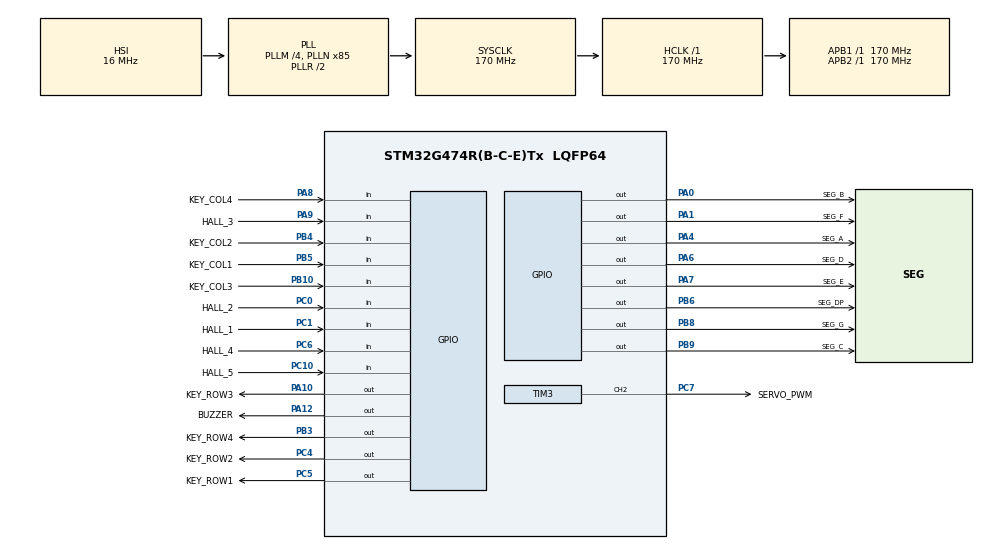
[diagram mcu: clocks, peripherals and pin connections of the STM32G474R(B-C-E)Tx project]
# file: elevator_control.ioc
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Mcu.Family=STM32G4
Mcu.Name=STM32G474R(B-C-E)Tx
Mcu.Package=LQFP64
NVIC.PriorityGroup=NVIC_PRIORITYGROUP_4
PA0.GPIO_Label=SEG_B
PA0.GPIO_Mode=GPIO_MODE_OUTPUT_PP
PA0.GPIO_PuPd=GPIO_NOPULL
PA0.GPIO_Speed=GPIO_SPEED_FREQ_LOW
PA0.Signal=GPIO_Output
PA1.GPIO_Label=SEG_F
PA1.GPIO_Mode=GPIO_MODE_OUTPUT_PP
PA1.GPIO_PuPd=GPIO_NOPULL
PA1.GPIO_Speed=GPIO_SPEED_FREQ_LOW
PA1.Signal=GPIO_Output
PA4.GPIO_Label=SEG_A
PA4.GPIO_Mode=GPIO_MODE_OUTPUT_PP
PA4.GPIO_PuPd=GPIO_NOPULL
PA4.GPIO_Speed=GPIO_SPEED_FREQ_LOW
PA4.Signal=GPIO_Output
PA6.GPIO_Label=SEG_D
PA6.GPIO_Mode=GPIO_MODE_OUTPUT_PP
PA6.GPIO_PuPd=GPIO_NOPULL
PA6.GPIO_Speed=GPIO_SPEED_FREQ_LOW
PA6.Signal=GPIO_Output
PA7.GPIO_Label=SEG_E
PA7.GPIO_Mode=GPIO_MODE_OUTPUT_PP
PA7.GPIO_PuPd=GPIO_NOPULL
PA7.GPIO_Speed=GPIO_SPEED_FREQ_LOW
PA7.Signal=GPIO_Output
PA8.GPIO_Label=KEY_COL4
PA8.GPIO_Mode=GPIO_MODE_INPUT
PA8.GPIO_PuPd=GPIO_PULLUP
PA8.Signal=GPIO_Input
PA9.GPIO_Label=HALL_3
PA9.GPIO_Mode=GPIO_MODE_INPUT
PA9.GPIO_PuPd=GPIO_PULLUP
PA9.Signal=GPIO_Input
PA10.GPIO_Label=KEY_ROW3
PA10.GPIO_Mode=GPIO_MODE_OUTPUT_PP
PA10.GPIO_PuPd=GPIO_NOPULL
PA10.GPIO_Speed=GPIO_SPEED_FREQ_LOW
PA10.Signal=GPIO_Output
PA12.GPIO_Label=BUZZER
PA12.GPIO_Mode=GPIO_MODE_OUTPUT_PP
PA12.GPIO_PuPd=GPIO_NOPULL
PA12.GPIO_Speed=GPIO_SPEED_FREQ_LOW
PA12.Signal=GPIO_Output
PA13.Mode=Serial_Wire
PA13.Signal=SYS_JTMS-SWDIO
PA14.Mode=Serial_Wire
PA14.Signal=SYS_JTCK-SWCLK
PB3.GPIO_Label=KEY_ROW4
PB3.GPIO_Mode=GPIO_MODE_OUTPUT_PP
PB3.GPIO_PuPd=GPIO_NOPULL
PB3.GPIO_Speed=GPIO_SPEED_FREQ_LOW
PB3.Signal=GPIO_Output
PB4.GPIO_Label=KEY_COL2
PB4.GPIO_Mode=GPIO_MODE_INPUT
PB4.GPIO_PuPd=GPIO_PULLUP
PB4.Signal=GPIO_Input
PB5.GPIO_Label=KEY_COL1
PB5.GPIO_Mode=GPIO_MODE_INPUT
PB5.GPIO_PuPd=GPIO_PULLUP
PB5.Signal=GPIO_Input
PB6.GPIO_Label=SEG_DP
PB6.GPIO_Mode=GPIO_MODE_OUTPUT_PP
PB6.GPIO_PuPd=GPIO_NOPULL
PB6.GPIO_Speed=GPIO_SPEED_FREQ_LOW
PB6.Signal=GPIO_Output
PB8.GPIO_Label=SEG_G
PB8.GPIO_Mode=GPIO_MODE_OUTPUT_PP
PB8.GPIO_PuPd=GPIO_NOPULL
PB8.GPIO_Speed=GPIO_SPEED_FREQ_LOW
PB8.Signal=GPIO_Output
PB9.GPIO_Label=SEG_C
PB9.GPIO_Mode=GPIO_MODE_OUTPUT_PP
PB9.GPIO_PuPd=GPIO_NOPULL
PB9.GPIO_Speed=GPIO_SPEED_FREQ_LOW
PB9.Signal=GPIO_Output
PB10.GPIO_Label=KEY_COL3
PB10.GPIO_Mode=GPIO_MODE_INPUT
PB10.GPIO_PuPd=GPIO_PULLUP
PB10.Signal=GPIO_Input
PC0.GPIO_Label=HALL_2
PC0.GPIO_Mode=GPIO_MODE_INPUT
PC0.GPIO_PuPd=GPIO_PULLUP
PC0.Signal=GPIO_Input
PC1.GPIO_Label=HALL_1
PC1.GPIO_Mode=GPIO_MODE_INPUT
PC1.GPIO_PuPd=GPIO_PULLUP
PC1.Signal=GPIO_Input
PC4.GPIO_Label=KEY_ROW2
PC4.GPIO_Mode=GPIO_MODE_OUTPUT_PP
PC4.GPIO_PuPd=GPIO_NOPULL
PC4.GPIO_Speed=GPIO_SPEED_FREQ_LOW
PC4.Signal=GPIO_Output
PC5.GPIO_Label=KEY_ROW1
PC5.GPIO_Mode=GPIO_MODE_OUTPUT_PP
PC5.GPIO_PuPd=GPIO_NOPULL
PC5.GPIO_Speed=GPIO_SPEED_FREQ_LOW
PC5.Signal=GPIO_Output
PC6.GPIO_Label=HALL_4
PC6.GPIO_Mode=GPIO_MODE_INPUT
PC6.GPIO_PuPd=GPIO_PULLUP
PC6.Signal=GPIO_Input
PC7.GPIO_Label=SERVO_PWM
PC7.GPIO_PuPd=GPIO_NOPULL
PC7.GPIO_Speed=GPIO_SPEED_FREQ_LOW
PC7.Signal=S_TIM3_CH2
PC10.GPIO_Label=HALL_5
PC10.GPIO_Mode=GPIO_MODE_INPUT
PC10.GPIO_PuPd=GPIO_PULLUP
PC10.Signal=GPIO_Input
ProjectManager.HeapSize=0x200
ProjectManager.StackSize=0x400
ProjectManager.TargetToolchain=STM32CubeIDE
RCC.ADC12Freq_Value=170000000
RCC.ADC345Freq_Value=170000000
RCC.AHBFreq_Value=170000000
RCC.APB1Freq_Value=170000000
RCC.APB1TimFreq_Value=170000000
RCC.APB2Freq_Value=170000000
RCC.APB2TimFreq_Value=170000000
RCC.CortexFreq_Value=170000000
RCC.HCLKFreq_Value=170000000
RCC.HSI_VALUE=16000000
RCC.PLLM=RCC_PLLM_DIV4
RCC.PLLN=85
RCC.SYSCLKFreq_VALUE=170000000
RCC.SYSCLKSource=RCC_SYSCLKSOURCE_PLLCLK
RCC.VCOOutputFreq_Value=340000000
SH.S_TIM3_CH2.0=TIM3_CH2,PWM Generation2 CH2
TIM3.Channel-PWM\ Generation2\ CH2=TIM_CHANNEL_2
TIM3.OCMode_PWM-PWM\ Generation2\ CH2=TIM_OCMODE_PWM1
TIM3.PeriodNoDither=19999
TIM3.Prescaler=169
TIM3.PulseNoDither_2=1500
VP_SYS_VS_DBSignals.Mode=DisableDeadBatterySignals
VP_TIM3_VS_ClockSourceINT.Mode=Internal

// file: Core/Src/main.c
/* USER CODE BEGIN Header */
/**
  ******************************************************************************
  * @file           : main.c
  * @brief          : Main program body
  ******************************************************************************
  * @attention
  *
  * Copyright (c) 2026 STMicroelectronics.
  * All rights reserved.
  *
  * This software is licensed under terms that can be found in the LICENSE file
  * in the root directory of this software component.
  * If no LICENSE file comes with this software, it is provided AS-IS.
  *
  ******************************************************************************
  */
/* USER CODE END Header */
#include "main.h"

/* USER CODE BEGIN Includes */
#include "buzzer.h"
#include "display.h"
#include "elevator.h"
#include "keypad.h"
#include "motor.h"
/* USER CODE END Includes */

TIM_HandleTypeDef htim3;

/* USER CODE BEGIN PV */
static uint32_t lastKeyScan;
/* USER CODE END PV */

void SystemClock_Config(void);
static void MX_GPIO_Init(void);
static void MX_TIM3_Init(void);

/* USER CODE BEGIN 0 */
static void HandleKey(char key)
{
  if ((key >= '1') && (key <= '5'))
  {
    Elevator_Request((uint8_t)(key - '0'));
  }
  else if ((key >= '6') && (key <= '9'))
  {
    Elevator_Request((uint8_t)(key - '6' + 1));
  }
  else if (key == '0')
  {
    Elevator_Request(5U);
  }
  else if (key == '#')
  {
    Elevator_RequestDoorOpen();
  }
  else if (key == '*')
  {
    Elevator_RequestDoorClose();
  }
}
/* USER CODE END 0 */

int main(void)
{

  /* MCU Configuration--------------------------------------------------------*/

  /* Reset of all peripherals, Initializes the Flash interface and the Systick. */
  HAL_Init();

  /* Configure the system clock */
  SystemClock_Config();

  /* Initialize all configured peripherals */
  MX_GPIO_Init();
  MX_TIM3_Init();
  /* USER CODE BEGIN 2 */
  if (HAL_TIM_PWM_Start(&htim3, TIM_CHANNEL_2) != HAL_OK)
  {
    Error_Handler();
  }

  Motor_Init(&htim3, TIM_CHANNEL_2);
  Buzzer_Init();
  Elevator_Init();
  /* USER CODE END 2 */

  /* Infinite loop */
  /* USER CODE BEGIN WHILE */
  while (1)
  {
    if ((HAL_GetTick() - lastKeyScan) >= 50U)
    {
      char key = Keypad_Scan();
      if (key != 0)
      {
        HandleKey(key);
      }
      lastKeyScan = HAL_GetTick();
    }

    Elevator_Update();
    Motor_Update();
    Buzzer_Update();
    Display_ShowDigit(Elevator_CurrentFloor());

    /* USER CODE END WHILE */

  }
}

void SystemClock_Config(void)
{
  RCC_OscInitTypeDef RCC_OscInitStruct = {0};
  RCC_ClkInitTypeDef RCC_ClkInitStruct = {0};

  /** Configure the main internal regulator output voltage
  */
  HAL_PWREx_ControlVoltageScaling(PWR_REGULATOR_VOLTAGE_SCALE1_BOOST);

  /** Initializes the RCC Oscillators according to the specified parameters
  * in the RCC_OscInitTypeDef structure.
  */
  RCC_OscInitStruct.OscillatorType = RCC_OSCILLATORTYPE_HSI;
  RCC_OscInitStruct.HSIState = RCC_HSI_ON;
  RCC_OscInitStruct.HSICalibrationValue = RCC_HSICALIBRATION_DEFAULT;
  RCC_OscInitStruct.PLL.PLLState = RCC_PLL_ON;
  RCC_OscInitStruct.PLL.PLLSource = RCC_PLLSOURCE_HSI;
  RCC_OscInitStruct.PLL.PLLM = RCC_PLLM_DIV4;
  RCC_OscInitStruct.PLL.PLLN = 85;
  RCC_OscInitStruct.PLL.PLLP = RCC_PLLP_DIV2;
  RCC_OscInitStruct.PLL.PLLQ = RCC_PLLQ_DIV2;
  RCC_OscInitStruct.PLL.PLLR = RCC_PLLR_DIV2;
  if (HAL_RCC_OscConfig(&RCC_OscInitStruct) != HAL_OK)
  {
    Error_Handler();
  }

  /** Initializes the CPU, AHB and APB buses clocks
  */
  RCC_ClkInitStruct.ClockType = RCC_CLOCKTYPE_HCLK|RCC_CLOCKTYPE_SYSCLK
                              |RCC_CLOCKTYPE_PCLK1|RCC_CLOCKTYPE_PCLK2;
  RCC_ClkInitStruct.SYSCLKSource = RCC_SYSCLKSOURCE_PLLCLK;
  RCC_ClkInitStruct.AHBCLKDivider = RCC_SYSCLK_DIV1;
  RCC_ClkInitStruct.APB1CLKDivider = RCC_HCLK_DIV1;
  RCC_ClkInitStruct.APB2CLKDivider = RCC_HCLK_DIV1;

  if (HAL_RCC_ClockConfig(&RCC_ClkInitStruct, FLASH_LATENCY_4) != HAL_OK)
  {
    Error_Handler();
  }
}

static void MX_TIM3_Init(void)
{

  TIM_ClockConfigTypeDef sClockSourceConfig = {0};
  TIM_MasterConfigTypeDef sMasterConfig = {0};
  TIM_OC_InitTypeDef sConfigOC = {0};

  htim3.Instance = TIM3;
  htim3.Init.Prescaler = 169;
  htim3.Init.CounterMode = TIM_COUNTERMODE_UP;
  htim3.Init.Period = 19999;
  htim3.Init.ClockDivision = TIM_CLOCKDIVISION_DIV1;
  htim3.Init.AutoReloadPreload = TIM_AUTORELOAD_PRELOAD_DISABLE;
  if (HAL_TIM_Base_Init(&htim3) != HAL_OK)
  {
    Error_Handler();
  }
  sClockSourceConfig.ClockSource = TIM_CLOCKSOURCE_INTERNAL;
  if (HAL_TIM_ConfigClockSource(&htim3, &sClockSourceConfig) != HAL_OK)
  {
    Error_Handler();
  }
  if (HAL_TIM_PWM_Init(&htim3) != HAL_OK)
  {
    Error_Handler();
  }
  sMasterConfig.MasterOutputTrigger = TIM_TRGO_RESET;
  sMasterConfig.MasterSlaveMode = TIM_MASTERSLAVEMODE_DISABLE;
  if (HAL_TIMEx_MasterConfigSynchronization(&htim3, &sMasterConfig) != HAL_OK)
  {
    Error_Handler();
  }
  sConfigOC.OCMode = TIM_OCMODE_PWM1;
  sConfigOC.Pulse = 1500;
  sConfigOC.OCPolarity = TIM_OCPOLARITY_HIGH;
  sConfigOC.OCFastMode = TIM_OCFAST_DISABLE;
  if (HAL_TIM_PWM_ConfigChannel(&htim3, &sConfigOC, TIM_CHANNEL_2) != HAL_OK)
  {
    Error_Handler();
  }
  HAL_TIM_MspPostInit(&htim3);

}

static void MX_GPIO_Init(void)
{
  GPIO_InitTypeDef GPIO_InitStruct = {0};

  /* GPIO Ports Clock Enable */
  __HAL_RCC_GPIOC_CLK_ENABLE();
  __HAL_RCC_GPIOA_CLK_ENABLE();
  __HAL_RCC_GPIOB_CLK_ENABLE();

  /*Configure GPIO pin Output Level */
  HAL_GPIO_WritePin(GPIOA, SEG_B_Pin|SEG_F_Pin|SEG_A_Pin|SEG_D_Pin
                          |SEG_E_Pin|KEY_ROW3_Pin|BUZZER_Pin, GPIO_PIN_RESET);

  /*Configure GPIO pin Output Level */
  HAL_GPIO_WritePin(GPIOC, KEY_ROW2_Pin|KEY_ROW1_Pin, GPIO_PIN_RESET);

  /*Configure GPIO pin Output Level */
  HAL_GPIO_WritePin(GPIOB, KEY_ROW4_Pin|SEG_DP_Pin|SEG_G_Pin|SEG_C_Pin, GPIO_PIN_RESET);

  /*Configure GPIO pins : HALL_2_Pin HALL_1_Pin HALL_4_Pin HALL_5_Pin */
  GPIO_InitStruct.Pin = HALL_2_Pin|HALL_1_Pin|HALL_4_Pin|HALL_5_Pin;
  GPIO_InitStruct.Mode = GPIO_MODE_INPUT;
  GPIO_InitStruct.Pull = GPIO_PULLUP;
  HAL_GPIO_Init(GPIOC, &GPIO_InitStruct);

  /*Configure GPIO pins : SEG_B_Pin SEG_F_Pin SEG_A_Pin SEG_D_Pin
                           SEG_E_Pin KEY_ROW3_Pin BUZZER_Pin */
  GPIO_InitStruct.Pin = SEG_B_Pin|SEG_F_Pin|SEG_A_Pin|SEG_D_Pin
                          |SEG_E_Pin|KEY_ROW3_Pin|BUZZER_Pin;
  GPIO_InitStruct.Mode = GPIO_MODE_OUTPUT_PP;
  GPIO_InitStruct.Pull = GPIO_NOPULL;
  GPIO_InitStruct.Speed = GPIO_SPEED_FREQ_LOW;
  HAL_GPIO_Init(GPIOA, &GPIO_InitStruct);

  /*Configure GPIO pins : KEY_ROW2_Pin KEY_ROW1_Pin */
  GPIO_InitStruct.Pin = KEY_ROW2_Pin|KEY_ROW1_Pin;
  GPIO_InitStruct.Mode = GPIO_MODE_OUTPUT_PP;
  GPIO_InitStruct.Pull = GPIO_NOPULL;
  GPIO_InitStruct.Speed = GPIO_SPEED_FREQ_LOW;
  HAL_GPIO_Init(GPIOC, &GPIO_InitStruct);

  /*Configure GPIO pins : KEY_COL3_Pin KEY_COL2_Pin KEY_COL1_Pin */
  GPIO_InitStruct.Pin = KEY_COL3_Pin|KEY_COL2_Pin|KEY_COL1_Pin;
  GPIO_InitStruct.Mode = GPIO_MODE_INPUT;
  GPIO_InitStruct.Pull = GPIO_PULLUP;
  HAL_GPIO_Init(GPIOB, &GPIO_InitStruct);

  /*Configure GPIO pins : KEY_COL4_Pin HALL_3_Pin */
  GPIO_InitStruct.Pin = KEY_COL4_Pin|HALL_3_Pin;
  GPIO_InitStruct.Mode = GPIO_MODE_INPUT;
  GPIO_InitStruct.Pull = GPIO_PULLUP;
  HAL_GPIO_Init(GPIOA, &GPIO_InitStruct);

  /*Configure GPIO pins : KEY_ROW4_Pin SEG_DP_Pin SEG_G_Pin SEG_C_Pin */
  GPIO_InitStruct.Pin = KEY_ROW4_Pin|SEG_DP_Pin|SEG_G_Pin|SEG_C_Pin;
  GPIO_InitStruct.Mode = GPIO_MODE_OUTPUT_PP;
  GPIO_InitStruct.Pull = GPIO_NOPULL;
  GPIO_InitStruct.Speed = GPIO_SPEED_FREQ_LOW;
  HAL_GPIO_Init(GPIOB, &GPIO_InitStruct);

}

void Error_Handler(void)
{
  __disable_irq();
  while (1)
  {
  }
}
